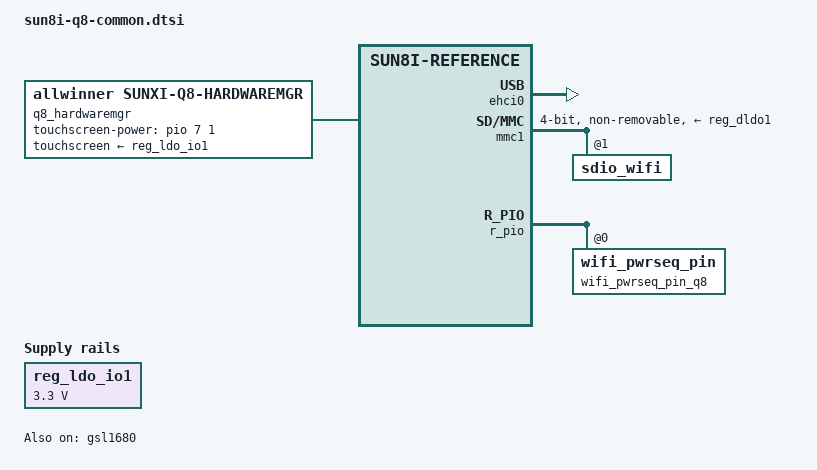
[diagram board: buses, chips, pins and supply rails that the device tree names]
/*
 * Copyright 2015 Hans de Goede <hdegoede@redhat.com>
 *
 * This file is dual-licensed: you can use it either under the terms
 * of the GPL or the X11 license, at your option. Note that this dual
 * licensing only applies to this file, and not this project as a
 * whole.
 *
 *  a) This file is free software; you can redistribute it and/or
 *     modify it under the terms of the GNU General Public License as
 *     published by the Free Software Foundation; either version 2 of the
 *     License, or (at your option) any later version.
 *
 *     This file is distributed in the hope that it will be useful,
 *     but WITHOUT ANY WARRANTY; without even the implied warranty of
 *     MERCHANTABILITY or FITNESS FOR A PARTICULAR PURPOSE.  See the
 *     GNU General Public License for more details.
 *
 * Or, alternatively,
 *
 *  b) Permission is hereby granted, free of charge, to any person
 *     obtaining a copy of this software and associated documentation
 *     files (the "Software"), to deal in the Software without
 *     restriction, including without limitation the rights to use,
 *     copy, modify, merge, publish, distribute, sublicense, and/or
 *     sell copies of the Software, and to permit persons to whom the
 *     Software is furnished to do so, subject to the following
 *     conditions:
 *
 *     The above copyright notice and this permission notice shall be
 *     included in all copies or substantial portions of the Software.
 *
 *     THE SOFTWARE IS PROVIDED "AS IS", WITHOUT WARRANTY OF ANY KIND,
 *     EXPRESS OR IMPLIED, INCLUDING BUT NOT LIMITED TO THE WARRANTIES
 *     OF MERCHANTABILITY, FITNESS FOR A PARTICULAR PURPOSE AND
 *     NONINFRINGEMENT. IN NO EVENT SHALL THE AUTHORS OR COPYRIGHT
 *     HOLDERS BE LIABLE FOR ANY CLAIM, DAMAGES OR OTHER LIABILITY,
 *     WHETHER IN AN ACTION OF CONTRACT, TORT OR OTHERWISE, ARISING
 *     FROM, OUT OF OR IN CONNECTION WITH THE SOFTWARE OR THE USE OR
 *     OTHER DEALINGS IN THE SOFTWARE.
 */
#include "sunxi-reference-design-tablet.dtsi"
#include "sun8i-reference-design-tablet.dtsi"

/ {
	aliases {
		serial0 = &r_uart;
		/* Make u-boot set mac-address for wifi without an eeprom */
		ethernet0 = &sdio_wifi;
	};

	q8_hardwaremgr {
		compatible = "allwinner,sunxi-q8-hardwaremgr";
		touchscreen-i2c-bus = <&i2c0>;
		touchscreen-supply = <&reg_ldo_io1>;
		touchscreen-power-gpios = <&pio 7 1 GPIO_ACTIVE_HIGH>; /* PH1 */
	};

	wifi_pwrseq: wifi_pwrseq {
		compatible = "mmc-pwrseq-simple";
		/*
		 * Q8 boards use various PL# pins as wifi-en. On other boards
		 * these may be connected to a wifi module output pin. To avoid
		 * short-circuits we configure these as inputs with pull-ups via
		 * pinctrl, instead of listing them as active-low reset-gpios.
		 */
		pinctrl-names = "default";
		pinctrl-0 = <&wifi_pwrseq_pin_q8>;
		/* The esp8089 needs 200 ms after driving wifi-en high */
		post-power-on-delay-ms = <200>;
	};
};

&ehci0 {
	status  = "okay";
};

&mmc1 {
	pinctrl-names = "default";
	pinctrl-0 = <&mmc1_pins_a>;
	vmmc-supply = <&reg_dldo1>;
	mmc-pwrseq = <&wifi_pwrseq>;
	bus-width = <4>;
	non-removable;
	status = "okay";

	sdio_wifi: sdio_wifi@1 {
		reg = <1>;
	};
};

&mmc1_pins_a {
	allwinner,pull = <SUN4I_PINCTRL_PULL_UP>;
};

&r_pio {
	wifi_pwrseq_pin_q8: wifi_pwrseq_pin@0 {
		allwinner,pins = "PL6", "PL7", "PL11";
		allwinner,function = "gpio_in";
		allwinner,drive = <SUN4I_PINCTRL_10_MA>;
		allwinner,pull = <SUN4I_PINCTRL_PULL_UP>;
	};
};

&usbphy {
	usb1_vbus-supply = <&reg_dldo1>;
};

&gsl1680 {
	touchscreen-size-x = <1024>;
	touchscreen-size-y = <600>;
	touchscreen-fw-name = "silead/gsl1680-q8-700.fw";
	status = "okay";
};

&reg_ldo_io1 {
	regulator-min-microvolt = <3300000>;
	regulator-max-microvolt = <3300000>;
	regulator-name = "vcc-touchscreen";
	status = "okay";
};
